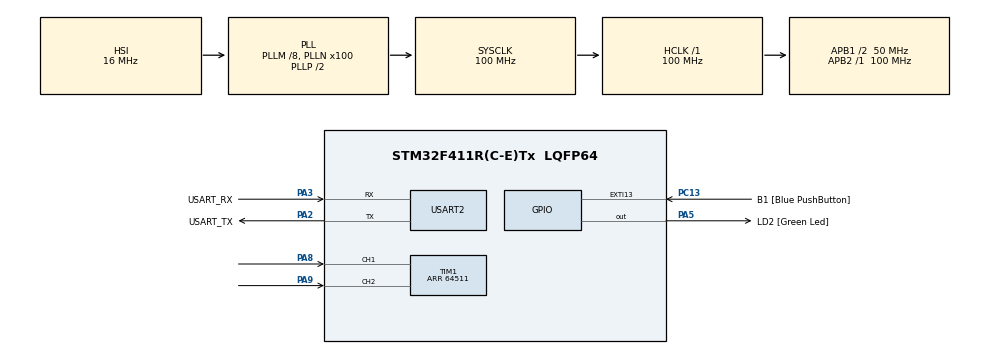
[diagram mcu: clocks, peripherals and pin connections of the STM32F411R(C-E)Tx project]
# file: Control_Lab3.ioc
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Mcu.Family=STM32F4
Mcu.Name=STM32F411R(C-E)Tx
Mcu.Package=LQFP64
NVIC.PriorityGroup=NVIC_PRIORITYGROUP_0
NVIC.TIM4_IRQn=true\:0\:0\:false\:false\:true\:true\:true
PA13.GPIO_Label=TMS
PA13.Mode=Serial_Wire
PA13.Signal=SYS_JTMS-SWDIO
PA14.GPIO_Label=TCK
PA14.Mode=Serial_Wire
PA14.Signal=SYS_JTCK-SWCLK
PA2.GPIO_Label=USART_TX
PA2.Mode=Asynchronous
PA2.Signal=USART2_TX
PA3.GPIO_Label=USART_RX
PA3.Mode=Asynchronous
PA3.Signal=USART2_RX
PA5.GPIO_Label=LD2 [Green Led]
PA5.Signal=GPIO_Output
PA8.Signal=S_TIM1_CH1
PA9.Signal=S_TIM1_CH2
PB3.GPIO_Label=SWO
PB3.Signal=SYS_JTDO-SWO
PC13-ANTI_TAMP.GPIO_Label=B1 [Blue PushButton]
PC13-ANTI_TAMP.GPIO_ModeDefaultEXTI=GPIO_MODE_IT_FALLING
PC13-ANTI_TAMP.Signal=GPXTI13
PC14-OSC32_IN.Mode=LSE-External-Oscillator
PC14-OSC32_IN.Signal=RCC_OSC32_IN
PC15-OSC32_OUT.Mode=LSE-External-Oscillator
PC15-OSC32_OUT.Signal=RCC_OSC32_OUT
PH0\ -\ OSC_IN.Mode=HSE-External-Clock-Source
PH0\ -\ OSC_IN.Signal=RCC_OSC_IN
PH1\ -\ OSC_OUT.Mode=HSE-External-Clock-Source
PH1\ -\ OSC_OUT.Signal=RCC_OSC_OUT
ProjectManager.HeapSize=0x200
ProjectManager.StackSize=0x400
ProjectManager.TargetToolchain=STM32CubeIDE
RCC.48MHZClocksFreq_Value=50000000
RCC.AHBFreq_Value=100000000
RCC.APB1CLKDivider=RCC_HCLK_DIV2
RCC.APB1Freq_Value=50000000
RCC.APB1TimFreq_Value=100000000
RCC.APB2Freq_Value=100000000
RCC.APB2TimFreq_Value=100000000
RCC.CortexFreq_Value=100000000
RCC.FLatency-AdvancedSettings=FLASH_LATENCY_3
RCC.HCLKFreq_Value=100000000
RCC.HSE_VALUE=8000000
RCC.HSI_VALUE=16000000
RCC.PLLM=8
RCC.PLLN=100
RCC.SYSCLKFreq_VALUE=100000000
RCC.SYSCLKSource=RCC_SYSCLKSOURCE_PLLCLK
RCC.VCOOutputFreq_Value=200000000
SH.S_TIM1_CH1.0=TIM1_CH1,Encoder_Interface
SH.S_TIM1_CH2.0=TIM1_CH2,Encoder_Interface
TIM1.EncoderMode=TIM_ENCODERMODE_TI12
TIM1.Period=64511
TIM4.Period=999
TIM4.Prescaler=99
USART2.VirtualMode=VM_ASYNC
VP_TIM4_VS_ClockSourceINT.Mode=Internal
board=NUCLEO-F411RE

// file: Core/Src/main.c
/* USER CODE BEGIN Header */
/**
  ******************************************************************************
  * @file           : main.c
  * @brief          : Main program body
  ******************************************************************************
  * @attention
  *
  * Copyright (c) 2022 STMicroelectronics.
  * All rights reserved.
  *
  * This software is licensed under terms that can be found in the LICENSE file
  * in the root directory of this software component.
  * If no LICENSE file comes with this software, it is provided AS-IS.
  *
  ******************************************************************************
  */
/* USER CODE END Header */
#include "main.h"

/* USER CODE BEGIN Includes */
#define _USE_MATH_DEFINES
#include "math.h"

/* USER CODE END Includes */

TIM_HandleTypeDef htim1;
TIM_HandleTypeDef htim4;

UART_HandleTypeDef huart2;

/* USER CODE BEGIN PV */
typedef struct
{
	double data[3][3];
	int rows;
	int cols;
}Matrix;

Matrix A, C, R, Q, x_k0, x_k1, z_k, xp_k, pp_k, p_k0, p_k1, A_T, C_T, y_k, s_k, s_k_inv, K, I, test;

Matrix Create_Matrix(int rows, int cols, double b[9])
{
	Matrix a;
	a.rows = rows;
	a.cols = cols;

	for (int i = 0; i < 3; i++)
	{
		for (int j = 0; j < 3; j++)
		{
			a.data[i][j] = 0;
		}
	}

	int n = 0;
	for (int i = 0; i < rows; i++)
	{
		for (int j = 0; j < cols; j++)
		{
			a.data[i][j] = 0;
			a.data[i][j] = b[n];
			n++;
		}
	}
	return a;
}

Matrix Multiply(Matrix a, Matrix b)
{
	Matrix c;
	c.rows = a.rows;
	c.cols = b.cols;
	for (int i = 0; i < 3; i++)
	{
		for (int j = 0; j < 3; j++)
		{
			c.data[i][j] = 0;
		}
	}

	for (int i = 0; i < a.rows; i++)
	{
		for (int j = 0; j < b.cols; j++)
		{
			for (int k = 0; k < b.rows; k++)
			{
				c.data[i][j] += a.data[i][k] * b.data[k][j];
			}
		}
	}
	return c;

}

Matrix Sum(Matrix a, Matrix b)
{
	Matrix c;
	c.rows = a.rows;
	c.cols = b.cols;

	for (int i = 0; i < 3; i++)
	{
		for (int j = 0; j < 3; j++)
		{
			c.data[i][j] = 0;
		}
	}

	for (int i = 0; i < a.rows; i++)
	{
		for (int j = 0; j < a.cols; j++)
		{
			c.data[i][j] = a.data[i][j] + b.data[i][j];
		}
	}

	return c;
}

Matrix Minus(Matrix a, Matrix b)
{
	Matrix c;
	c.rows = a.rows;
	c.cols = b.cols;

	for (int i = 0; i < 3; i++)
	{
		for (int j = 0; j < 3; j++)
		{
			c.data[i][j] = 0;
		}
	}

	for (int i = 0; i < a.rows; i++)
	{
		for (int j = 0; j < a.cols; j++)
		{
			c.data[i][j] = a.data[i][j] - b.data[i][j];
		}
	}

	return c;
}

Matrix Transpose(Matrix a)
{
	Matrix c;
	c.rows = a.rows;
	c.cols = a.cols;

	for (int i = 0; i < 3; i++)
	{
		for (int j = 0; j < 3; j++)
		{
			c.data[i][j] = 0;
		}
	}

	for (int i = 0; i < a.rows; i++)
	{
		for (int j = 0; j < a.cols; j++)
		{
			c.data[i][j] = a.data[j][i];
		}
	}
	return c;
}

Matrix Inverse(Matrix a)
{
	//this function is for only 1x1 matrix
	Matrix c;
	c.rows = a.rows;
	c.cols = a.cols;

	for (int i = 0; i < 3; i++)
	{
		for (int j = 0; j < 3; j++)
		{
			c.data[i][j] = 0;
		}
	}

	for (int i = 0; i < a.rows; i++)
	{
		for (int j = 0; j < a.cols; j++)
		{
			c.data[i][j] = 1/(a.data[i][j]);
		}
	}
	return c;
}

Matrix Store(Matrix a)
{
	Matrix c;
	c.rows = a.rows;
	c.cols = a.cols;

	for (int i = 0; i < 3; i++)
	{
		for (int j = 0; j < 3; j++)
		{
			c.data[i][j] = 0;
		}
	}

	for (int i = 0; i < a.rows; i++)
	{
		for (int j = 0; j < a.cols; j++)
		{
			c.data[i][j] = (a.data[i][j]);
		}
	}
	return c;
}
double sensor[1] = { 0 };
double velocity = 0;
double RadRel =0;
double Position[2] = {0};
float tk = 0.00;
float ti = 0.00;
float output_theta = 0.00 ;
float zoutput_omega = 0.00 ;
int aa = 0;

/* USER CODE END PV */

void SystemClock_Config(void);
static void MX_GPIO_Init(void);
static void MX_USART2_UART_Init(void);
static void MX_TIM4_Init(void);
static void MX_TIM1_Init(void);

int main(void)
{

  /* MCU Configuration--------------------------------------------------------*/

  /* Reset of all peripherals, Initializes the Flash interface and the Systick. */
  HAL_Init();

  /* Configure the system clock */
  SystemClock_Config();

  /* Initialize all configured peripherals */
  MX_GPIO_Init();
  MX_USART2_UART_Init();
  MX_TIM4_Init();
  MX_TIM1_Init();
  /* USER CODE BEGIN 2 */
  HAL_TIM_Base_Start_IT(&htim4);
  HAL_TIM_Encoder_Start(&htim1, TIM_CHANNEL_ALL);
  double dt = 1/1000.0;
  double mat_a[9] = { 1, dt, (0.5 * (pow(dt,2))), 0, 1, dt, 0, 0, 1 };
  double mat_c[3] = { 1, 0, 0 };
  double mat_r[1] = { 0.0033145 };
  double eye[9] = { 1, 0, 0, 0, 1, 0, 0, 0, 1 };
  double zero[9] = { 0 };
  double var_jerk = 6.5;
  double var_theta = (pow(((1 / 6.0) * pow(dt,3)), 2))*var_jerk;
  double var_omega = (pow(((1 / 2.0) * pow(dt, 2)), 2)) * var_jerk;
  double var_alpha = (pow(dt, 2)) * var_jerk;
  double var_theta_omega = ((1 / 12.0) * pow(dt, 5)) * var_jerk;
  double var_theta_alpha = ((1 / 6.0) * pow(dt, 4)) * var_jerk;
  double var_omega_alpha = ((1 / 2.0) * pow(dt, 3))* var_jerk;
  double mat_q[9] = {var_theta, var_theta_omega, var_theta_alpha, var_theta_omega, var_omega, var_omega_alpha, var_theta_alpha, var_omega_alpha, var_alpha };

  A = Create_Matrix(3, 3, mat_a);
  A_T = Transpose(A);
  C = Create_Matrix(1, 3, mat_c);
  C_T = Transpose(C);
  R = Create_Matrix(1, 1, mat_r);
  Q = Create_Matrix(3, 3, mat_q);
  I = Create_Matrix(3, 3, eye);
  x_k1 = Create_Matrix(3, 1, zero);
  p_k1 = Create_Matrix(3, 3, zero);
  /* USER CODE END 2 */

  /* Infinite loop */
  while (1)
  {

  }
}

void SystemClock_Config(void)
{
  RCC_OscInitTypeDef RCC_OscInitStruct = {0};
  RCC_ClkInitTypeDef RCC_ClkInitStruct = {0};

  /** Configure the main internal regulator output voltage
  */
  __HAL_RCC_PWR_CLK_ENABLE();
  __HAL_PWR_VOLTAGESCALING_CONFIG(PWR_REGULATOR_VOLTAGE_SCALE1);
  /** Initializes the RCC Oscillators according to the specified parameters
  * in the RCC_OscInitTypeDef structure.
  */
  RCC_OscInitStruct.OscillatorType = RCC_OSCILLATORTYPE_HSI;
  RCC_OscInitStruct.HSIState = RCC_HSI_ON;
  RCC_OscInitStruct.HSICalibrationValue = RCC_HSICALIBRATION_DEFAULT;
  RCC_OscInitStruct.PLL.PLLState = RCC_PLL_ON;
  RCC_OscInitStruct.PLL.PLLSource = RCC_PLLSOURCE_HSI;
  RCC_OscInitStruct.PLL.PLLM = 8;
  RCC_OscInitStruct.PLL.PLLN = 100;
  RCC_OscInitStruct.PLL.PLLP = RCC_PLLP_DIV2;
  RCC_OscInitStruct.PLL.PLLQ = 4;
  if (HAL_RCC_OscConfig(&RCC_OscInitStruct) != HAL_OK)
  {
    Error_Handler();
  }
  /** Initializes the CPU, AHB and APB buses clocks
  */
  RCC_ClkInitStruct.ClockType = RCC_CLOCKTYPE_HCLK|RCC_CLOCKTYPE_SYSCLK
                              |RCC_CLOCKTYPE_PCLK1|RCC_CLOCKTYPE_PCLK2;
  RCC_ClkInitStruct.SYSCLKSource = RCC_SYSCLKSOURCE_PLLCLK;
  RCC_ClkInitStruct.AHBCLKDivider = RCC_SYSCLK_DIV1;
  RCC_ClkInitStruct.APB1CLKDivider = RCC_HCLK_DIV2;
  RCC_ClkInitStruct.APB2CLKDivider = RCC_HCLK_DIV1;

  if (HAL_RCC_ClockConfig(&RCC_ClkInitStruct, FLASH_LATENCY_3) != HAL_OK)
  {
    Error_Handler();
  }
}

static void MX_TIM1_Init(void)
{

  TIM_Encoder_InitTypeDef sConfig = {0};
  TIM_MasterConfigTypeDef sMasterConfig = {0};

  htim1.Instance = TIM1;
  htim1.Init.Prescaler = 0;
  htim1.Init.CounterMode = TIM_COUNTERMODE_UP;
  htim1.Init.Period = 64511;
  htim1.Init.ClockDivision = TIM_CLOCKDIVISION_DIV1;
  htim1.Init.RepetitionCounter = 0;
  htim1.Init.AutoReloadPreload = TIM_AUTORELOAD_PRELOAD_DISABLE;
  sConfig.EncoderMode = TIM_ENCODERMODE_TI12;
  sConfig.IC1Polarity = TIM_ICPOLARITY_RISING;
  sConfig.IC1Selection = TIM_ICSELECTION_DIRECTTI;
  sConfig.IC1Prescaler = TIM_ICPSC_DIV1;
  sConfig.IC1Filter = 0;
  sConfig.IC2Polarity = TIM_ICPOLARITY_RISING;
  sConfig.IC2Selection = TIM_ICSELECTION_DIRECTTI;
  sConfig.IC2Prescaler = TIM_ICPSC_DIV1;
  sConfig.IC2Filter = 0;
  if (HAL_TIM_Encoder_Init(&htim1, &sConfig) != HAL_OK)
  {
    Error_Handler();
  }
  sMasterConfig.MasterOutputTrigger = TIM_TRGO_RESET;
  sMasterConfig.MasterSlaveMode = TIM_MASTERSLAVEMODE_DISABLE;
  if (HAL_TIMEx_MasterConfigSynchronization(&htim1, &sMasterConfig) != HAL_OK)
  {
    Error_Handler();
  }

}

static void MX_TIM4_Init(void)
{

  TIM_ClockConfigTypeDef sClockSourceConfig = {0};
  TIM_MasterConfigTypeDef sMasterConfig = {0};

  htim4.Instance = TIM4;
  htim4.Init.Prescaler = 99;
  htim4.Init.CounterMode = TIM_COUNTERMODE_UP;
  htim4.Init.Period = 999;
  htim4.Init.ClockDivision = TIM_CLOCKDIVISION_DIV1;
  htim4.Init.AutoReloadPreload = TIM_AUTORELOAD_PRELOAD_DISABLE;
  if (HAL_TIM_Base_Init(&htim4) != HAL_OK)
  {
    Error_Handler();
  }
  sClockSourceConfig.ClockSource = TIM_CLOCKSOURCE_INTERNAL;
  if (HAL_TIM_ConfigClockSource(&htim4, &sClockSourceConfig) != HAL_OK)
  {
    Error_Handler();
  }
  sMasterConfig.MasterOutputTrigger = TIM_TRGO_RESET;
  sMasterConfig.MasterSlaveMode = TIM_MASTERSLAVEMODE_DISABLE;
  if (HAL_TIMEx_MasterConfigSynchronization(&htim4, &sMasterConfig) != HAL_OK)
  {
    Error_Handler();
  }

}

static void MX_USART2_UART_Init(void)
{

  huart2.Instance = USART2;
  huart2.Init.BaudRate = 115200;
  huart2.Init.WordLength = UART_WORDLENGTH_8B;
  huart2.Init.StopBits = UART_STOPBITS_1;
  huart2.Init.Parity = UART_PARITY_NONE;
  huart2.Init.Mode = UART_MODE_TX_RX;
  huart2.Init.HwFlowCtl = UART_HWCONTROL_NONE;
  huart2.Init.OverSampling = UART_OVERSAMPLING_16;
  if (HAL_UART_Init(&huart2) != HAL_OK)
  {
    Error_Handler();
  }

}

static void MX_GPIO_Init(void)
{
  GPIO_InitTypeDef GPIO_InitStruct = {0};

  /* GPIO Ports Clock Enable */
  __HAL_RCC_GPIOC_CLK_ENABLE();
  __HAL_RCC_GPIOH_CLK_ENABLE();
  __HAL_RCC_GPIOA_CLK_ENABLE();
  __HAL_RCC_GPIOB_CLK_ENABLE();

  /*Configure GPIO pin Output Level */
  HAL_GPIO_WritePin(LD2_GPIO_Port, LD2_Pin, GPIO_PIN_RESET);

  /*Configure GPIO pin : B1_Pin */
  GPIO_InitStruct.Pin = B1_Pin;
  GPIO_InitStruct.Mode = GPIO_MODE_IT_FALLING;
  GPIO_InitStruct.Pull = GPIO_NOPULL;
  HAL_GPIO_Init(B1_GPIO_Port, &GPIO_InitStruct);

  /*Configure GPIO pin : LD2_Pin */
  GPIO_InitStruct.Pin = LD2_Pin;
  GPIO_InitStruct.Mode = GPIO_MODE_OUTPUT_PP;
  GPIO_InitStruct.Pull = GPIO_NOPULL;
  GPIO_InitStruct.Speed = GPIO_SPEED_FREQ_LOW;
  HAL_GPIO_Init(LD2_GPIO_Port, &GPIO_InitStruct);

}

/* USER CODE BEGIN 4 */

void HAL_TIM_PeriodElapsedCallback(TIM_HandleTypeDef *htim)
{
	if (htim == &htim4)
	{
		RadRel = (TIM1->CNT/3072.0)*(2*M_PI);
		Position[0] = RadRel;
		velocity = (Position[0] - Position[1]) / 0.001;
		ti = aa / 1000.0;
		tk = ti;
		sensor[0] = RadRel;
		z_k = Create_Matrix(1, 1, sensor);
		//Predict//
		xp_k = Multiply(A, x_k1);
		pp_k = Sum(Multiply(Multiply(A, p_k1), A_T), Q);
		//Update//
		y_k = Minus(z_k, Multiply(C, xp_k));
		s_k = Sum(Multiply(Multiply(C, pp_k), C_T), R);
		s_k_inv = Inverse(s_k);
		K = Multiply(Multiply(pp_k, C_T), s_k_inv);
		x_k0 = Sum(xp_k, Multiply(K, y_k));
		p_k0 = Multiply(Minus(I, Multiply(K, C)), pp_k);

		//Memory [N-1] data
		x_k1 = Store(x_k0);
		p_k1 = Store(p_k0);
		output_theta = x_k0.data[0][0];
		zoutput_omega = x_k0.data[1][0];

		//time
		aa++;

		//store position
		Position[1] = Position[0] ;
	}
}

/* USER CODE END 4 */

void Error_Handler(void)
{
  __disable_irq();
  while (1)
  {
  }
}
